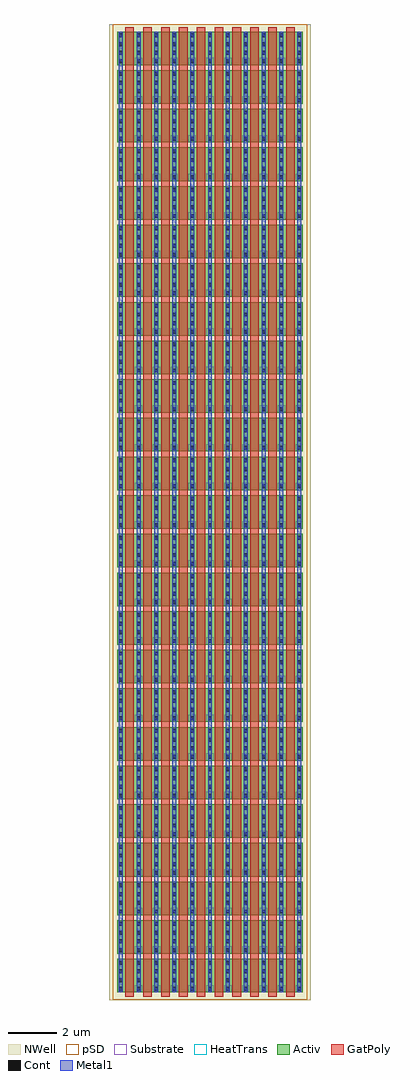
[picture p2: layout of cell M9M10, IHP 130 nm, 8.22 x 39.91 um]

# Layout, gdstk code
import gdstk
lib = gdstk.Library(unit=1e-6, precision=1e-09)
def R(c, l, rs):  # rectangles x0, y0, x1, y1
    for r in rs: c.add(gdstk.rectangle(r[:2], r[2:], *l))
def A(c, l, x, y, w, h, nx, ny, dx, dy):  # array of equal rectangles
    R(c, l, [(x+i*dx, y+j*dy, x+i*dx+w, y+j*dy+h) for i in range(nx) for j in range(ny)])
Activ = (1, 0)
GatPoly = (5, 0)
Cont = (6, 0)
Metal1 = (8, 0)
pSD = (14, 0)
NWell = (31, 0)
Substrate = (40, 0)
HeatTrans = (51, 0)

m1_conm9m10 = lib.new_cell('M1_conM9M10')
R(m1_conm9m10, Metal1, [(0,-0.03,0.16,0.18)])

pmos_1 = lib.new_cell('pmos$1')
R(pmos_1, Activ, [(0,0,0.3,0.3), (0,0,1.03,1.37), (0.73,0,1.03,0.3)])
R(pmos_1, GatPoly, [(0.34,-0.18,0.69,1.55), (0.34,-0.18,0.69,1.55)])
A(pmos_1, Cont, 0.07, 0.07, 0.16, 0.16, 1, 3, 0, 0.355)
A(pmos_1, Cont, 0.8, 0.07, 0.16, 0.16, 1, 3, 0, 0.355)
R(pmos_1, Cont, [(0.07,1.14,0.23,1.3), (0.8,1.14,0.96,1.3)])
R(pmos_1, Metal1, [(0.07,0,0.23,1.37), (0.07,0,0.23,1.37), (0.8,0,0.96,1.37), (0.8,0,0.96,1.37)])
R(pmos_1, pSD, [(-0.18,-0.3,1.21,1.67)])
R(pmos_1, NWell, [(-0.31,-0.31,1.34,1.68)])
R(pmos_1, Substrate, [(0.73,0,1.03,0.3)])
R(pmos_1, HeatTrans, [(0.34,-0.18,0.69,1.55)])
pmos_1.add(gdstk.Label('pmos', (0.515,0.685), layer=63, texttype=0))
pmos_1.add(gdstk.Label('pmos', (0.515,0.685), layer=51, texttype=0))

m9m10 = lib.new_cell('M9M10')
r = gdstk.Reference(m1_conm9m10, (-0.385,1.275)); r.repetition = gdstk.Repetition(11, 24, v1=(0.73,0), v2=(0,1.58)); m9m10.add(r)
r = gdstk.Reference(pmos_1, (-0.455,-0.125)); r.repetition = gdstk.Repetition(10, 25, v1=(0.73,0), v2=(0,1.58)); m9m10.add(r)

lib.write_gds('M9M10.gds')
